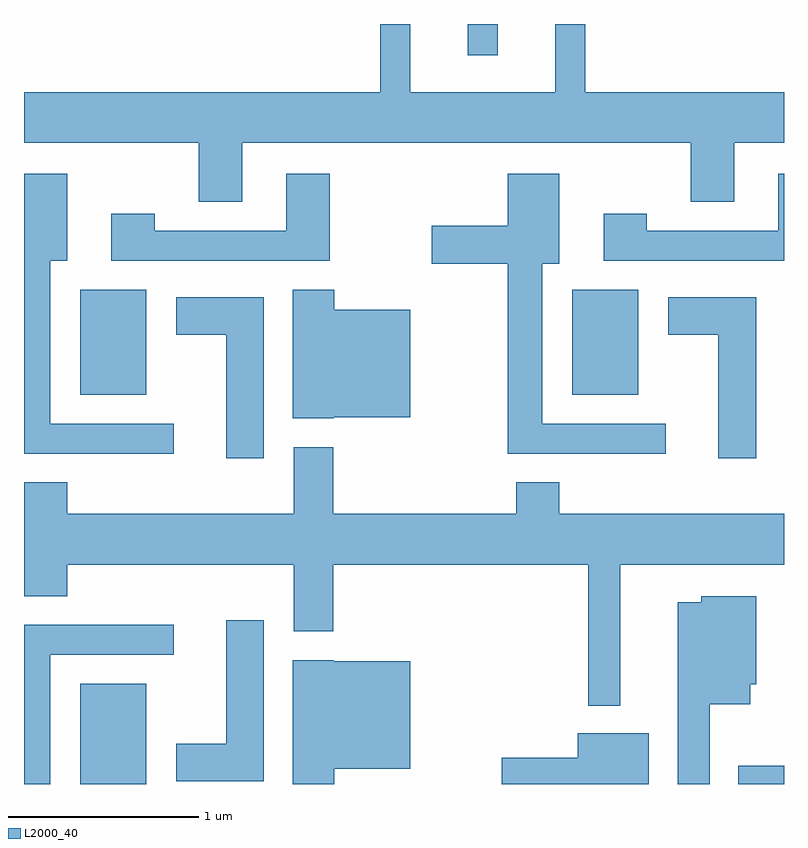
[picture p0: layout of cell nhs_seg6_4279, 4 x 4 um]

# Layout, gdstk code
import gdstk
lib = gdstk.Library(unit=1e-6, precision=1e-09)
def R(c, l, rs):  # rectangles x0, y0, x1, y1
    for r in rs: c.add(gdstk.rectangle(r[:2], r[2:], *l))
def P(c, l, *ps):  # polygons
    for p in ps: c.add(gdstk.Polygon(p, *l))
L2000_40 = (2000, 40)

nhs_seg6_4279 = lib.new_cell('nhs_seg6_4279')
R(nhs_seg6_4279, L2000_40, [(315.906,1602.162,316.254,1602.689), (319.371,1602.162,319.611,1602.259), (315.906,1604.211,316.254,1604.764), (318.496,1604.211,318.844,1604.764), (317.946,1605.998,318.104,1606.162)])
P(nhs_seg6_4279, L2000_40, [(319.121,1605.226),(319.349,1605.226),(319.349,1605.536),(319.611,1605.536),(319.611,1605.804),(318.564,1605.804),(318.564,1606.162),(318.406,1606.162),(318.406,1605.804),(317.644,1605.804),(317.644,1606.162),(317.486,1606.162),(317.486,1605.804),(315.611,1605.804),(315.611,1605.536),(316.531,1605.536),(316.531,1605.226),(316.759,1605.226),(316.759,1605.536),(319.121,1605.536)],
  [(317.219,1605.374),(316.991,1605.374),(316.991,1605.074),(316.299,1605.074),(316.299,1605.164),(316.071,1605.164),(316.071,1604.916),(317.219,1604.916)],
  [(318.988,1604.059),(318.339,1604.059),(318.339,1604.901),(318.429,1604.901),(318.429,1605.374),(318.156,1605.374),(318.156,1605.099),(317.756,1605.099),(317.756,1604.901),(318.156,1604.901),(318.156,1603.901),(318.988,1603.901)],
  [(316.398,1604.059),(315.749,1604.059),(315.749,1604.916),(315.839,1604.916),(315.839,1605.374),(315.611,1605.374),(315.611,1603.901),(316.398,1603.901)],
  [(319.611,1605.374),(319.581,1605.374),(319.581,1605.074),(318.889,1605.074),(318.889,1605.164),(318.661,1605.164),(318.661,1604.916),(319.611,1604.916)],
  [(317.24,1604.091),(317.644,1604.091),(317.644,1604.659),(317.244,1604.659),(317.244,1604.764),(317.026,1604.764),(317.026,1604.086),(317.24,1604.086)],
  [(316.874,1604.724),(316.411,1604.724),(316.411,1604.526),(316.676,1604.526),(316.676,1603.876),(316.874,1603.876)],
  [(319.464,1604.724),(319.001,1604.724),(319.001,1604.526),(319.266,1604.526),(319.266,1603.876),(319.464,1603.876)],
  [(318.749,1603.316),(319.611,1603.316),(319.611,1603.584),(318.429,1603.584),(318.429,1603.749),(318.201,1603.749),(318.201,1603.584),(317.239,1603.584),(317.239,1603.934),(317.031,1603.934),(317.031,1603.584),(315.839,1603.584),(315.839,1603.749),(315.611,1603.749),(315.611,1603.151),(315.839,1603.151),(315.839,1603.316),(317.031,1603.316),(317.031,1602.966),(317.239,1602.966),(317.239,1603.316),(318.581,1603.316),(318.581,1602.573),(318.749,1602.573)],
  [(319.219,1602.581),(319.434,1602.581),(319.434,1602.686),(319.464,1602.686),(319.464,1603.149),(319.176,1603.149),(319.176,1603.119),(319.051,1603.119),(319.051,1602.162),(319.219,1602.162)],
  [(316.874,1603.024),(316.676,1603.024),(316.676,1602.374),(316.411,1602.374),(316.411,1602.176),(316.874,1602.176)],
  [(315.749,1602.841),(316.398,1602.841),(316.398,1602.999),(315.611,1602.999),(315.611,1602.162),(315.749,1602.162)],
  [(317.244,1602.241),(317.644,1602.241),(317.644,1602.809),(317.24,1602.809),(317.24,1602.814),(317.026,1602.814),(317.026,1602.162),(317.244,1602.162)],
  [(318.899,1602.429),(318.526,1602.429),(318.526,1602.299),(318.126,1602.299),(318.126,1602.162),(318.899,1602.162)])

lib.write_gds('nhs_seg6_4279.gds')
